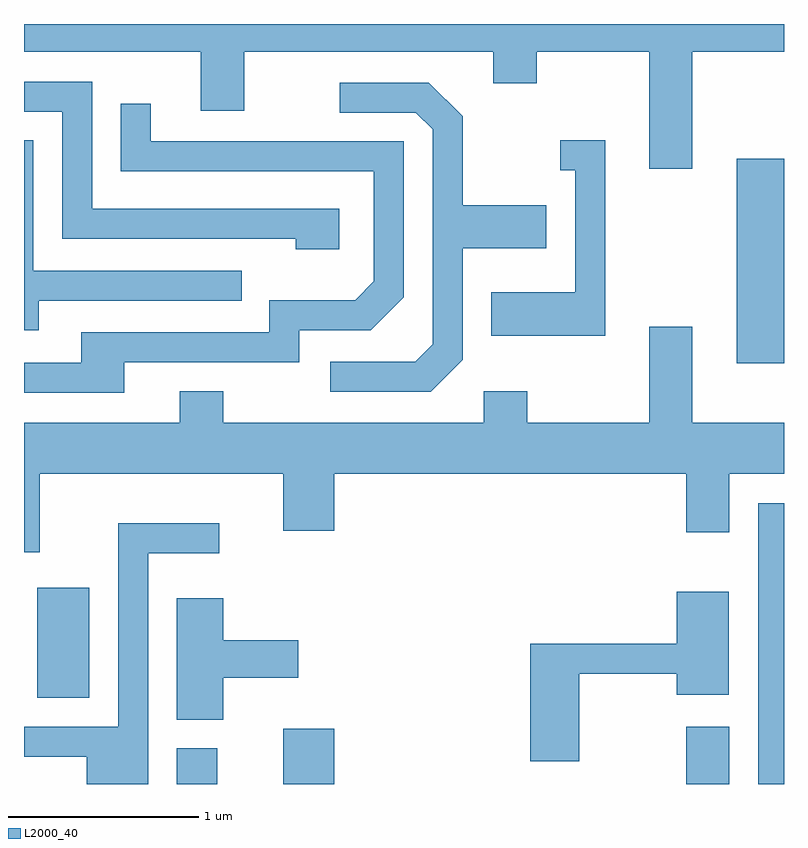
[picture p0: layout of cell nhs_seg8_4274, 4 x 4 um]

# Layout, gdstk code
import gdstk
lib = gdstk.Library(unit=1e-6, precision=1e-09)
def R(c, l, rs):  # rectangles x0, y0, x1, y1
    for r in rs: c.add(gdstk.rectangle(r[:2], r[2:], *l))
def P(c, l, *ps):  # polygons
    for p in ps: c.add(gdstk.Polygon(p, *l))
L2000_40 = (2000, 40)

nhs_seg8_4274 = lib.new_cell('nhs_seg8_4274')
R(nhs_seg8_4274, L2000_40, [(314.416,1830.342,314.629,1830.529), (314.976,1830.342,315.244,1830.634), (317.096,1830.342,317.324,1830.644), (317.476,1830.342,317.611,1831.819), (313.681,1830.796,313.954,1831.374), (317.361,1832.556,317.611,1833.634)])
P(nhs_seg8_4274, L2000_40, [(317.129,1834.196),(317.611,1834.196),(317.611,1834.342),(313.611,1834.342),(313.611,1834.196),(314.541,1834.196),(314.541,1833.886),(314.769,1833.886),(314.769,1834.196),(316.081,1834.196),(316.081,1834.031),(316.309,1834.031),(316.309,1834.196),(316.901,1834.196),(316.901,1833.581),(317.129,1833.581)],
  [(315.269,1833.369),(313.969,1833.369),(313.969,1834.039),(313.611,1834.039),(313.611,1833.881),(313.811,1833.881),(313.811,1833.211),(315.041,1833.211),(315.041,1833.156),(315.269,1833.156)],
  [(315.919,1832.574),(315.919,1833.161),(316.359,1833.161),(316.359,1833.389),(315.919,1833.389),(315.919,1833.857),(315.742,1834.034),(315.273,1834.034),(315.273,1833.876),(315.674,1833.876),(315.761,1833.789),(315.761,1832.657),(315.669,1832.564),(315.223,1832.564),(315.223,1832.406),(315.752,1832.406)],
  [(314.139,1832.561),(315.059,1832.561),(315.059,1832.731),(315.437,1832.731),(315.609,1832.904),(315.609,1833.724),(314.279,1833.724),(314.279,1833.923),(314.121,1833.923),(314.121,1833.566),(315.451,1833.566),(315.451,1832.987),(315.354,1832.889),(314.901,1832.889),(314.901,1832.719),(313.911,1832.719),(313.911,1832.559),(313.611,1832.559),(313.611,1832.401),(314.139,1832.401)],
  [(316.669,1833.729),(316.433,1833.729),(316.433,1833.571),(316.511,1833.571),(316.511,1832.929),(316.071,1832.929),(316.071,1832.701),(316.669,1832.701)],
  [(313.689,1832.886),(314.758,1832.886),(314.758,1833.044),(313.659,1833.044),(313.659,1833.729),(313.611,1833.729),(313.611,1832.731),(313.689,1832.731)],
  [(313.694,1831.976),(314.976,1831.976),(314.976,1831.676),(315.244,1831.676),(315.244,1831.976),(317.096,1831.976),(317.096,1831.666),(317.324,1831.666),(317.324,1831.976),(317.611,1831.976),(317.611,1832.244),(317.129,1832.244),(317.129,1832.749),(316.901,1832.749),(316.901,1832.244),(316.259,1832.244),(316.259,1832.409),(316.031,1832.409),(316.031,1832.244),(314.659,1832.244),(314.659,1832.409),(314.431,1832.409),(314.431,1832.244),(313.611,1832.244),(313.611,1831.561),(313.694,1831.561)],
  [(314.264,1831.556),(314.638,1831.556),(314.638,1831.714),(314.106,1831.714),(314.106,1830.644),(313.611,1830.644),(313.611,1830.486),(313.941,1830.486),(313.941,1830.342),(314.264,1830.342)],
  [(316.534,1830.921),(317.046,1830.921),(317.046,1830.811),(317.319,1830.811),(317.319,1831.354),(317.046,1831.354),(317.046,1831.079),(316.276,1831.079),(316.276,1830.461),(316.534,1830.461)],
  [(314.659,1830.901),(315.054,1830.901),(315.054,1831.099),(314.659,1831.099),(314.659,1831.319),(314.416,1831.319),(314.416,1830.681),(314.659,1830.681)])

lib.write_gds('nhs_seg8_4274.gds')
